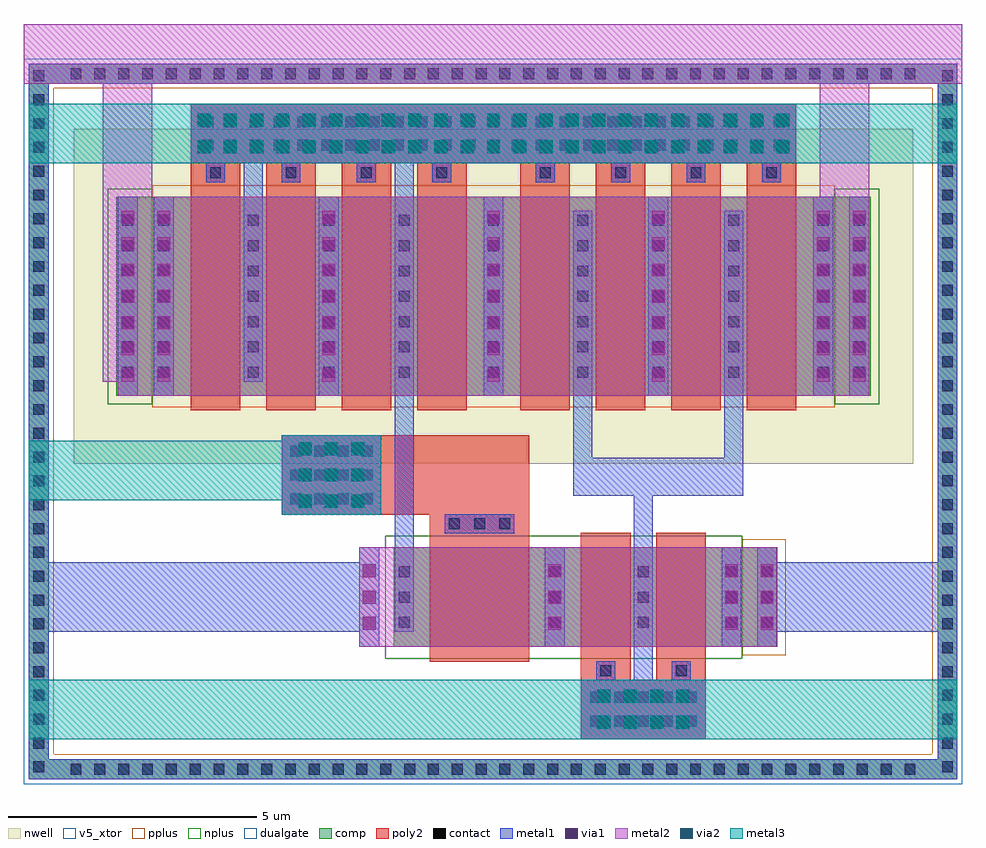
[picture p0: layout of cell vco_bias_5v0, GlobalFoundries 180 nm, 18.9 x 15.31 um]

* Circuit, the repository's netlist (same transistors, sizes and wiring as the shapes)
** sch_path: /home/noritsuna/vco/vco_bias_5v0.sch
.subckt vco_bias_5v0 VCTRL VBP VBN VDD VSS
*.PININFO VCTRL:I VBP:O VBN:O VDD:B VSS:B
MPB VBP VBP VDD VDD pfet_05v0 L=1u W=16u nf=1
MNI VBP VCTRL VSS VSS nfet_05v0 L=2u W=2u nf=1
MPM VBN VBP VDD VDD pfet_05v0 L=1u W=16u nf=1
MNM VBN VBN VSS VSS nfet_05v0 L=1u W=4u nf=1
.ends

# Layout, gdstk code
from math import pi, radians
import gdstk
lib = gdstk.Library(unit=1e-6, precision=1e-09)
def R(c, l, rs):  # rectangles x0, y0, x1, y1
    for r in rs: c.add(gdstk.rectangle(r[:2], r[2:], *l))
def A(c, l, x, y, w, h, nx, ny, dx, dy):  # array of equal rectangles
    R(c, l, [(x+i*dx, y+j*dy, x+i*dx+w, y+j*dy+h) for i in range(nx) for j in range(ny)])
nwell = (21, 0)
comp = (22, 0)
poly2 = (30, 0)
pplus = (31, 0)
nplus = (32, 0)
contact = (33, 0)
metal1 = (34, 0)
via1 = (35, 0)
metal2 = (36, 0)
via2 = (38, 0)
metal3 = (42, 0)
dualgate = (55, 0)
v5_xtor = (112, 1)

pfet = lib.new_cell('pfet')
R(pfet, nwell, [(-1.32,-0.99,8.23,5.37)])
R(pfet, comp, [(-0.46,0,7.37,4)])
A(pfet, poly2, 0.31, -0.3, 1, 4.98, 4, 1, 1.52, 0)
R(pfet, pplus, [(-0.63,-0.24,6.64,4.24)])
R(pfet, nplus, [(6.64,-0.17,7.54,4.17)])
A(pfet, contact, -0.34, 0.36, 0.22, 0.22, 1, 7, 0, 0.51)
A(pfet, contact, 1.46, 0.36, 0.22, 0.22, 3, 7, 1.52, 0.51)
A(pfet, contact, 6.3, 0.36, 0.22, 0.22, 1, 7, 0, 0.51)
A(pfet, contact, 7.03, 0.36, 0.22, 0.22, 1, 7, 0, 0.51)
A(pfet, contact, 0.7, 4.38, 0.22, 0.22, 4, 1, 1.52, 0)
A(pfet, metal1, 1.38, 0.28, 0.38, 3.44, 3, 1, 1.52, 0)
A(pfet, metal1, 0.62, 4.3, 0.38, 0.38, 4, 1, 1.52, 0)
R(pfet, metal1, [(-0.42,0.28,-0.04,3.72), (6.22,0.28,6.6,3.72), (6.95,0.28,7.33,3.72)])
R(pfet, dualgate, [(-1.82,-1.49,8.73,5.87)])
R(pfet, v5_xtor, [(-1.82,-1.49,8.73,5.87)])

via_dev = lib.new_cell('via_dev')
R(via_dev, metal1, [(0,0,0.4,4)])
A(via_dev, via1, 0.07, 0.28, 0.26, 0.26, 1, 7, 0, 0.53)
R(via_dev, metal2, [(0,0,0.4,4)])

nfet = lib.new_cell('nfet')
R(nfet, comp, [(-0.42,0,4.27,2)])
R(nfet, poly2, [(0.31,-0.66,1.31,2.3), (1.83,-0.66,2.83,2.3)])
R(nfet, pplus, [(3.56,-0.17,4.44,2.17)])
R(nfet, nplus, [(-0.59,-0.24,3.56,2.24)])
A(nfet, contact, -0.32, 0.38, 0.22, 0.22, 3, 3, 1.78, 0.51)
A(nfet, contact, 3.95, 0.38, 0.22, 0.22, 1, 3, 0, 0.51)
R(nfet, contact, [(0.7,-0.59,0.92,-0.37), (2.22,-0.59,2.44,-0.37)])
A(nfet, metal1, -0.4, 0.3, 0.38, 1.4, 3, 1, 1.78, 0)
R(nfet, metal1, [(0.62,-0.67,1,-0.29), (2.14,-0.67,2.52,-0.29), (3.87,0.3,4.25,1.7)])
R(nfet, dualgate, [(-0.84,-1.08,4.69,2.71)])
R(nfet, v5_xtor, [(-0.84,-1.08,4.69,2.71)])

nfet_2 = lib.new_cell('nfet$2')
R(nfet_2, comp, [(-0.42,0,3.04,2)])
R(nfet_2, poly2, [(0.31,-0.3,2.31,2.66)])
R(nfet_2, nplus, [(-0.59,-0.24,3.21,2.24)])
A(nfet_2, contact, -0.32, 0.38, 0.22, 0.22, 1, 3, 0, 0.51)
A(nfet_2, contact, 2.72, 0.38, 0.22, 0.22, 1, 3, 0, 0.51)
A(nfet_2, contact, 0.69, 2.37, 0.22, 0.22, 3, 1, 0.51, 0)
R(nfet_2, metal1, [(-0.4,0.3,-0.02,1.7), (2.64,0.3,3.02,1.7), (0.61,2.29,2.01,2.67)])
R(nfet_2, dualgate, [(-0.84,-0.71,3.46,3.08)])
R(nfet_2, v5_xtor, [(-0.84,-0.71,3.46,3.08)])

via_dev_8 = lib.new_cell('via_dev$8')
R(via_dev_8, poly2, [(0,0,2,1.6)])
A(via_dev_8, contact, 0.17, 0.21, 0.22, 0.22, 4, 3, 0.48, 0.48)
R(via_dev_8, metal1, [(0,0,2,1.6)])
A(via_dev_8, via1, 0.34, 0.14, 0.26, 0.26, 3, 3, 0.53, 0.53)
R(via_dev_8, metal2, [(0,0,2,1.6)])
A(via_dev_8, via2, 0.34, 0.14, 0.26, 0.26, 3, 3, 0.53, 0.53)
R(via_dev_8, metal3, [(0,0,2,1.6)])

via_dev_7 = lib.new_cell('via_dev$7')
R(via_dev_7, comp, [(0,0,17.7,0.4)])
A(via_dev_7, contact, 0.34, 0.09, 0.22, 0.22, 36, 1, 0.48, 0)
R(via_dev_7, metal1, [(0,0,17.7,0.4)])

via_dev_2 = lib.new_cell('via_dev$2')
R(via_dev_2, poly2, [(0,0,12.2,1.2)])
A(via_dev_2, contact, 0.23, 0.25, 0.22, 0.22, 25, 2, 0.48, 0.48)
R(via_dev_2, metal1, [(0,0,12.2,1.2)])
A(via_dev_2, via1, 0.14, 0.205, 0.26, 0.26, 23, 2, 0.53, 0.53)
R(via_dev_2, metal2, [(0,0,12.2,1.2)])
A(via_dev_2, via2, 0.14, 0.205, 0.26, 0.26, 23, 2, 0.53, 0.53)
R(via_dev_2, metal3, [(0,0,12.2,1.2)])

via_dev_5 = lib.new_cell('via_dev$5')
R(via_dev_5, metal1, [(0,0,0.4,2)])
A(via_dev_5, via1, 0.07, 0.34, 0.26, 0.26, 1, 3, 0, 0.53)
R(via_dev_5, metal2, [(0,0,0.4,2)])

via_dev_6 = lib.new_cell('via_dev$6')
R(via_dev_6, poly2, [(0,0,2.52,1.2)])
A(via_dev_6, contact, 0.19, 0.25, 0.22, 0.22, 5, 2, 0.48, 0.48)
R(via_dev_6, metal1, [(0,0,2.52,1.2)])
A(via_dev_6, via1, 0.335, 0.205, 0.26, 0.26, 4, 2, 0.53, 0.53)
R(via_dev_6, metal2, [(0,0,2.52,1.2)])
A(via_dev_6, via2, 0.335, 0.205, 0.26, 0.26, 4, 2, 0.53, 0.53)
R(via_dev_6, metal3, [(0,0,2.52,1.2)])

via_dev_12 = lib.new_cell('via_dev$12')
R(via_dev_12, comp, [(0,0,0.4,14.41)])
A(via_dev_12, contact, 0.09, 0.135, 0.22, 0.22, 1, 30, 0, 0.48)
R(via_dev_12, metal1, [(0,0,0.4,14.41)])

vco_bias_5v0 = lib.new_cell('vco_bias_5v0')
R(vco_bias_5v0, nwell, [(0.11,4.465,17.03,11.205)])
R(vco_bias_5v0, comp, [(-0.39,-1.89,-0.29,-1.49), (17.355,-1.89,17.515,-1.49), (-0.39,12.12,-0.29,12.52), (17.355,12.12,17.515,12.52)])
R(vco_bias_5v0, poly2, [(6.295,3.435,9.29,5.035)])
R(vco_bias_5v0, metal1, [(-0.39,-1.89,-0.29,-1.49), (17.355,-1.89,17.515,-1.49), (-0.605,1.075,5.87,2.475), (14.01,1.075,17.735,2.475), (10.18,3.815,13.6,4.58), (-0.39,12.12,-0.29,12.52), (17.355,12.12,17.515,12.52)])
R(vco_bias_5v0, metal2, [(5.865,0.775,14.28,2.775), (1,5.835,16.14,9.835)])
R(vco_bias_5v0, metal3, [(-0.79,-1.085,17.915,0.115), (-0.79,3.725,4.47,4.925), (-0.79,10.515,17.915,11.715)])
R(vco_bias_5v0, dualgate, [(-0.89,-1.99,18.01,12.625)])
R(vco_bias_5v0, v5_xtor, [(-0.89,-1.99,18.01,12.625)])
vco_bias_5v0.add(gdstk.FlexPath([(13.41,6.315),(13.41,3.915)], 0.38, ends="flush", simple_path=True, layer=34, datatype=0))  # metal1
vco_bias_5v0.add(gdstk.FlexPath([(3.73,9.365),(3.73,10.78)], 0.38, ends="flush", simple_path=True, layer=34, datatype=0))  # metal1
vco_bias_5v0.add(gdstk.FlexPath([(6.77,9.365),(6.77,10.78)], 0.38, ends="flush", simple_path=True, layer=34, datatype=0))  # metal1
vco_bias_5v0.add(gdstk.FlexPath([(10.37,6.17),(10.37,4.055)], 0.38, ends="flush", simple_path=True, layer=34, datatype=0))  # metal1
vco_bias_5v0.add(gdstk.FlexPath([(6.77,6.3),(6.77,2.21)], 0.38, ends="flush", simple_path=True, layer=34, datatype=0))  # metal1
vco_bias_5v0.add(gdstk.FlexPath([(11.59,-0.405),(11.59,4.235)], 0.38, ends="flush", simple_path=True, layer=34, datatype=0))  # metal1
vco_bias_5v0.add(gdstk.FlexPath([(-0.59,12.52),(-0.59,-1.69),(17.71,-1.69),(17.71,12.325),(-0.89,12.325)], 0.6, ends="flush", simple_path=True, layer=31, datatype=0))  # pplus
vco_bias_5v0.add(gdstk.FlexPath([(15.64,8.04),(15.64,12.52)], 1, ends="flush", simple_path=True, layer=36, datatype=0))  # metal2
vco_bias_5v0.add(gdstk.FlexPath([(-0.89,12.72),(18.01,12.72)], 1.2, ends="flush", simple_path=True, layer=36, datatype=0))  # metal2
vco_bias_5v0.add(gdstk.FlexPath([(1.2,6.115),(1.2,12.52)], 1, ends="flush", simple_path=True, layer=36, datatype=0))  # metal2
vco_bias_5v0.add(gdstk.Reference(pfet, (8.34,5.835), rotation=pi, x_reflection=True))
vco_bias_5v0.add(gdstk.Reference(pfet, (8.8,5.835)))
vco_bias_5v0.add(gdstk.Reference(via_dev, (5.05,5.835)))
vco_bias_5v0.add(gdstk.Reference(nfet, (10.02,0.775)))
vco_bias_5v0.add(gdstk.Reference(nfet_2, (9.6,0.775), rotation=pi, x_reflection=True))
vco_bias_5v0.add(gdstk.Reference(via_dev_8, (4.305,3.435)))
vco_bias_5v0.add(gdstk.Reference(via_dev, (8.37,5.835)))
vco_bias_5v0.add(gdstk.Reference(via_dev_7, (-0.29,-1.89)))
vco_bias_5v0.add(gdstk.Reference(via_dev_2, (2.47,10.515)))
vco_bias_5v0.add(gdstk.Reference(via_dev_5, (9.605,0.775)))
vco_bias_5v0.add(gdstk.Reference(via_dev_5, (13.88,0.775)))
vco_bias_5v0.add(gdstk.Reference(via_dev_6, (10.33,-1.085)))
vco_bias_5v0.add(gdstk.Reference(via_dev_12, (-0.79,-1.89)))
vco_bias_5v0.add(gdstk.Reference(via_dev_7, (-0.29,12.12)))
vco_bias_5v0.add(gdstk.Reference(via_dev_12, (17.515,-1.89)))
vco_bias_5v0.add(gdstk.Reference(via_dev, (1,5.835)))
vco_bias_5v0.add(gdstk.Reference(via_dev, (1.73,5.835)))
vco_bias_5v0.add(gdstk.Reference(via_dev, (11.69,5.835)))
vco_bias_5v0.add(gdstk.Reference(via_dev, (8.37,5.835)))
vco_bias_5v0.add(gdstk.Reference(via_dev, (15.01,5.835)))
vco_bias_5v0.add(gdstk.Reference(via_dev, (15.74,5.835)))
vco_bias_5v0.add(gdstk.Reference(via_dev_5, (5.865,0.775)))
vco_bias_5v0.add(gdstk.Reference(via_dev_5, (13.165,0.775)))

lib.write_gds('vco_bias_5v0.gds')
